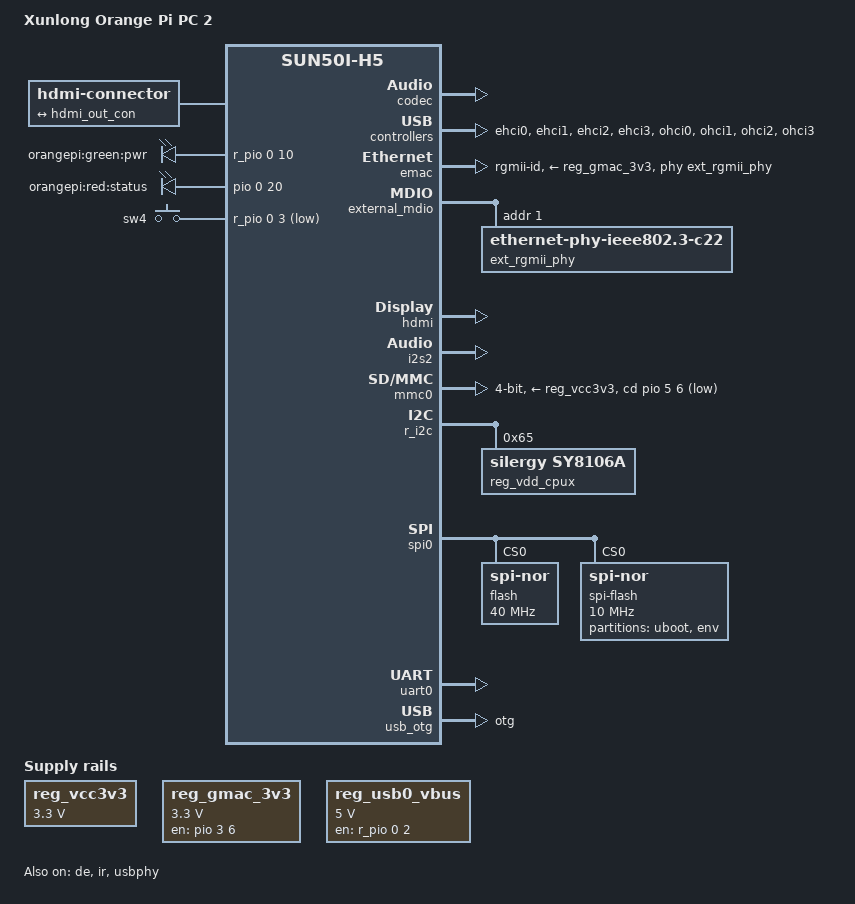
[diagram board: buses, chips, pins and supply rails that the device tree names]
// SPDX-License-Identifier: (GPL-2.0+ OR MIT)
// Copyright (C) 2016 ARM Ltd.

/dts-v1/;
#include "sun50i-h5.dtsi"
#include "sun50i-h5-cpu-opp.dtsi"

#include <dt-bindings/gpio/gpio.h>
#include <dt-bindings/input/input.h>
#include <dt-bindings/pinctrl/sun4i-a10.h>

/ {
	model = "Xunlong Orange Pi PC 2";
	compatible = "xunlong,orangepi-pc2", "allwinner,sun50i-h5";

	reg_vcc3v3: vcc3v3 {
		compatible = "regulator-fixed";
		regulator-name = "vcc3v3";
		regulator-min-microvolt = <3300000>;
		regulator-max-microvolt = <3300000>;
	};

	aliases {
		ethernet0 = &emac;
		serial0 = &uart0;
	};

	chosen {
		stdout-path = "serial0:115200n8";
	};

	connector {
		compatible = "hdmi-connector";
		type = "a";

		port {
			hdmi_con_in: endpoint {
				remote-endpoint = <&hdmi_out_con>;
			};
		};
	};

	leds {
		compatible = "gpio-leds";

		led-0 {
			label = "orangepi:green:pwr";
			gpios = <&r_pio 0 10 GPIO_ACTIVE_HIGH>;
			default-state = "on";
		};

		led-1 {
			label = "orangepi:red:status";
			gpios = <&pio 0 20 GPIO_ACTIVE_HIGH>;
		};
	};

	r-gpio-keys {
		compatible = "gpio-keys";

		sw4 {
			label = "sw4";
			linux,code = <KEY_POWER>;
			gpios = <&r_pio 0 3 GPIO_ACTIVE_LOW>;
			wakeup-source;
		};
	};

	reg_gmac_3v3: gmac-3v3 {
		compatible = "regulator-fixed";
		regulator-name = "gmac-3v3";
		regulator-min-microvolt = <3300000>;
		regulator-max-microvolt = <3300000>;
		startup-delay-us = <100000>;
		enable-active-high;
		gpio = <&pio 3 6 GPIO_ACTIVE_HIGH>;
	};

	reg_usb0_vbus: usb0-vbus {
		compatible = "regulator-fixed";
		regulator-name = "usb0-vbus";
		regulator-min-microvolt = <5000000>;
		regulator-max-microvolt = <5000000>;
		enable-active-high;
		gpio = <&r_pio 0 2 GPIO_ACTIVE_HIGH>; /* PL2 */
		status = "okay";
	};
};

&cpu0 {
	cpu-supply = <&reg_vdd_cpux>;
};

&codec {
	allwinner,audio-routing =
		"Line Out", "LINEOUT",
		"MIC1", "Mic",
		"Mic",  "MBIAS";
	status = "okay";
};

&cpu0 {
	cpu-supply = <&reg_vdd_cpux>;
};

&de {
	status = "okay";
};

&ehci0 {
	status = "okay";
};

&ehci1 {
	status = "okay";
};

&ehci2 {
	status = "okay";
};

&ehci3 {
	status = "okay";
};

&emac {
	pinctrl-names = "default";
	pinctrl-0 = <&emac_rgmii_pins>;
	phy-supply = <&reg_gmac_3v3>;
	phy-handle = <&ext_rgmii_phy>;
	phy-mode = "rgmii-id";
	status = "okay";
};

&external_mdio {
	ext_rgmii_phy: ethernet-phy@1 {
		compatible = "ethernet-phy-ieee802.3-c22";
		reg = <1>;
	};
};

&hdmi {
	status = "okay";
};

&hdmi_out {
	hdmi_out_con: endpoint {
		remote-endpoint = <&hdmi_con_in>;
	};
};

&i2s2 {
	status = "okay";
};

&ir {
	pinctrl-names = "default";
	pinctrl-0 = <&r_ir_rx_pin>;
	status = "okay";
};

&mmc0 {
	vmmc-supply = <&reg_vcc3v3>;
	bus-width = <4>;
	cd-gpios = <&pio 5 6 GPIO_ACTIVE_LOW>; /* PF6 */
	status = "okay";
};

&ohci0 {
	status = "okay";
};

&ohci1 {
	status = "okay";
};

&ohci2 {
	status = "okay";
};

&ohci3 {
	status = "okay";
};

&r_i2c {
	status = "okay";

	reg_vdd_cpux: regulator@65 {
		compatible = "silergy,sy8106a";
		reg = <0x65>;
		regulator-name = "vdd-cpux";
		silergy,fixed-microvolt = <1100000>;
		regulator-min-microvolt = <1000000>;
		regulator-max-microvolt = <1400000>;
		regulator-ramp-delay = <200>;
		regulator-boot-on;
		regulator-always-on;
	};
};

&sound_hdmi {
	status = "okay";
};

&spi0  {
	status = "okay";

	flash@0 {
		#address-cells = <1>;
		#size-cells = <1>;
		compatible = "jedec,spi-nor";
		reg = <0>;
		spi-max-frequency = <40000000>;
	};
};

&r_i2c {
	status = "okay";

	reg_vdd_cpux: regulator@65 {
		compatible = "silergy,sy8106a";
		reg = <0x65>;
		regulator-name = "vdd-cpux";
		silergy,fixed-microvolt = <1200000>;
		/*
		 * The datasheet uses 1.1V as the minimum value of VDD-CPUX,
		 * however both the Armbian DVFS table and the official one
		 * have operating points with voltage under 1.1V, and both
		 * DVFS table are known to work properly at the lowest
		 * operating point.
		 *
		 * Use 1.0V as the minimum voltage instead.
		 */
		regulator-min-microvolt = <1000000>;
		regulator-max-microvolt = <1400000>;
		regulator-ramp-delay = <200>;
		regulator-boot-on;
		regulator-always-on;
	};
};

&spi0 {
	status = "okay";
        spi-flash@0 {
                #address-cells = <1>;
                #size-cells = <0>;
                compatible = "jedec,spi-nor";
                reg = <0>; /* Chip select 0 */
                spi-max-frequency = <10000000>;
                status = "okay";
                partitions {
                        compatible = "fixed-partitions";
                        #address-cells = <1>;
                        #size-cells = <1>;
                        partition@0 {
                                label = "uboot";
                                reg = <0x0 0x100000>;
                        };
                        partition@100000 {
                                label = "env";
                                reg = <0x100000 0x100000>;
                        };
                };
        };
};

&uart0 {
	pinctrl-names = "default";
	pinctrl-0 = <&uart0_pa_pins>;
	status = "okay";
};

&uart1 {
	pinctrl-names = "default";
	pinctrl-0 = <&uart1_pins>;
	status = "disabled";
};

&uart2 {
	pinctrl-names = "default";
	pinctrl-0 = <&uart2_pins>;
	status = "disabled";
};

&usb_otg {
	dr_mode = "otg";
	status = "okay";
};

&usbphy {
	/* USB Type-A ports' VBUS is always on */
	usb0_id_det-gpios = <&pio 6 12 GPIO_ACTIVE_HIGH>; /* PG12 */
	usb0_vbus-supply = <&reg_usb0_vbus>;
	status = "okay";
};
